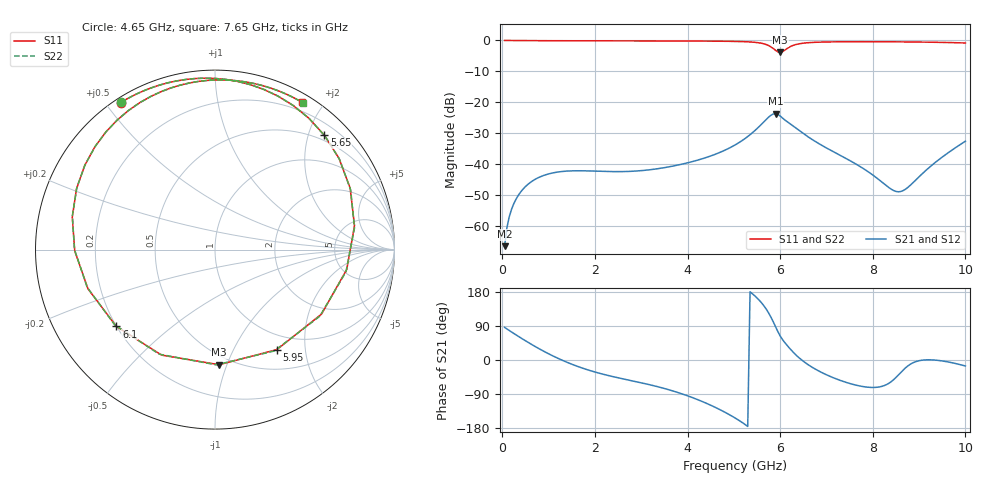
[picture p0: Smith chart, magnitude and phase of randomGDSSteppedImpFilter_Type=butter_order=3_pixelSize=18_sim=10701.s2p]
! freq	dB(S11)	phase(S11)	dB(S12)	phase(S12)
!  dB(S21)	phase(S21)	dB(S22)	phase(S22)
!S-par simulation data
#  GHz  S  DB  R 50
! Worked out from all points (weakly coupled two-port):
!   200 points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, 50 MHz to 10 GHz, reference 50 ohm
!   highest |S21| = -23.61 dB at 5.9 GHz (marker M1); lowest = -66.4 dB at 50 MHz (marker M2)
!   lowest |S11| = -3.9 dB at 6 GHz (marker M3), VSWR 4.58, Z = 21.5 - j47 ohm
!   |S11| at or under -10 dB: nowhere
!   |S22| runs from -3.8 to 0.0 dB; largest |S21 - S12| = 0
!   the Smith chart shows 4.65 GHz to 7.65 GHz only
!   S11 on the Smith chart (normalised r, x): 4.65 GHz: 0.02, +0.55; 5.65 GHz: 0.40, +2.28; 5.95 GHz: 0.77, -1.51; 6.1 GHz: 0.20, -0.33; 7.65 GHz: 0.10, +1.75
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0.05  -0.00 -4.1  -66.38 86.0  -66.38 86.0  -0.00 -4.1
0.2  -0.02 -16.1  -54.48 73.8  -54.48 73.8  -0.02 -16.1
0.5  -0.05 -39.4  -47.16 50.7  -47.16 50.7  -0.05 -39.4
1.1  -0.09 -81.4  -42.71 10.3  -42.71 10.3  -0.09 -81.4
1.75  -0.12 -118.7  -42.06 -22.2  -42.06 -22.2  -0.12 -118.7
2.55  -0.13 -155.5  -42.33 -48.3  -42.33 -48.3  -0.13 -155.5
3.4  -0.16 171.3  -41.29 -71.8  -41.29 -71.8  -0.16 171.3
4.65  -0.24 122.7  -36.43 -128.0  -36.43 -128.0  -0.24 122.6
5.05  -0.32 102.9  -33.52 -154.7  -33.52 -154.7  -0.32 102.7
5.65  -1.09 46.3  -26.23 142.9  -26.23 142.9  -1.11 45.7
5.8  -2.06 9.7  -24.15 113.3  -24.15 113.3  -2.09 8.8
5.9  -3.18 -31.2  -23.61 87.9  -23.61 87.9  -3.20 -32.5
5.95  -3.67 -58.2  -23.85 75.1  -23.85 75.1  -3.68 -59.7
6  -3.85 -87.9  -24.38 63.6  -24.38 63.6  -3.85 -89.4
6.1  -3.14 -142.1  -25.65 46.0  -25.65 46.0  -3.11 -143.2
6.2  -2.14 -179.4  -26.72 31.5  -26.72 31.5  -2.12 179.9
6.35  -1.27 147.2  -28.36 12.2  -28.36 12.2  -1.26 146.8
6.7  -0.63 109.0  -32.05 -19.8  -32.05 -19.8  -0.63 108.8
7.65  -0.41 59.3  -40.00 -66.7  -40.00 -66.7  -0.41 59.1
8.35  -0.44 31.4  -47.51 -61.3  -47.51 -61.3  -0.44 31.2
8.7  -0.47 18.1  -48.07 -21.4  -48.07 -21.4  -0.47 17.9
10  -0.82 -31.5  -32.51 -15.9  -32.51 -15.9  -0.82 -31.7
